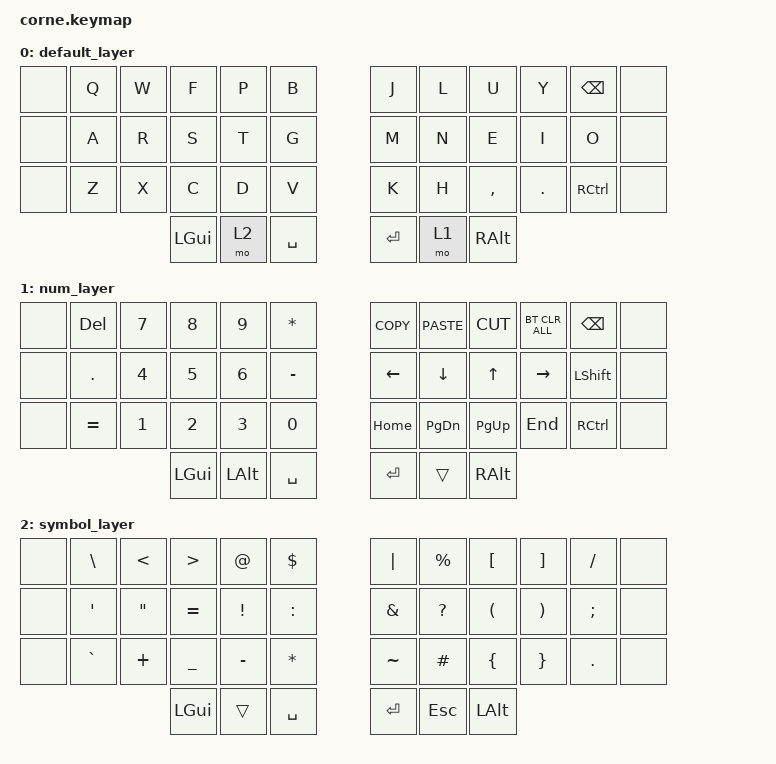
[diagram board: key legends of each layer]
/*
 * Copyright (c) 2020 The ZMK Contributors
 *
 * SPDX-License-Identifier: MIT
 */

#include <behaviors.dtsi>
#include <dt-bindings/zmk/bt.h>
#include <dt-bindings/zmk/keys.h>

/ {
    combos {
        compatible = "zmk,combos";

        combo_capslock {
            bindings = <&kp CAPSLOCK>;
            key-positions = <39 38>;
            layers = <0 1 2>;
            timeout-ms = <50>;
        };

        combo_ctrl {
            bindings = <&skq RCTRL>;
            key-positions = <26 27>;
            layers = <0 1 2>;
            timeout-ms = <50>;
        };

        combo_shift {
            bindings = <&skq RIGHT_SHIFT>;
            key-positions = <8 9>;
            timeout-ms = <50>;
            layers = <0 1 2>;
        };

        combo_tab {
            bindings = <&kp TAB>;
            key-positions = <2 3>;
            timeout-ms = <50>;
            layers = <0 1 2>;
        };
    };

    behaviors {
        skq: skq {
            compatible = "zmk,behavior-sticky-key";
            label = "sticky_key_quick_release";
            bindings = <&kp>;
            #binding-cells = <1>;
            release-after-ms = <1000>;
            quick-release;
        };
    };

    keymap {
        compatible = "zmk,keymap";

        default_layer {
            // ---------------------------------------------------------------------------
            // |     |  Q  |  W  |  F  |  P  |  B  | |  J  |  L  |  U  |  Y  |BKSPC|     |
            // |     |  A  |  R  |  S  |  T  |  G  | |  M  |  N  |  E  |  I  |  O  |     |
            // |     |  Z  |  X  |  C  |  D  |  V  | |  K  |  H  |  ,  |  .  |RCTRL|     |
            //                   | CMD |-SYM-| SPC | | RET |-NUM-| OPT |

            bindings = <
&none  &kp Q  &kp W  &kp F     &kp P  &kp B        &kp J    &kp L  &kp U      &kp Y    &kp BACKSPACE      &none
&none  &kp A  &kp R  &kp S     &kp T  &kp G        &kp M    &kp N  &kp E      &kp I    &kp O              &none
&none  &kp Z  &kp X  &kp C     &kp D  &kp V        &kp K    &kp H  &kp COMMA  &kp DOT  &kp RIGHT_CONTROL  &none
                     &kp LGUI  &mo 2  &kp SPACE    &kp RET  &mo 1  &kp RALT
            >;
        };

        num_layer {
            // ---------------------------------------------------------------------------
            // |     |     |  7  |  8  |  9  |  *  | | CPY | PST | CUT | UND | DEL |     |
            // |     |  .  |  4  |  5  |  6  |  -  | |  <| | DWN |  UP |  |> |SHIFT|     |
            // |     |  =  |  1  |  2  |  3  |  +  | |  HM | PGD | PGU | END |RCTRL|     |
            //                   | OPT |  0  | SPC | | RET |_NUM_| CMD |

            bindings = <
&none  &kp DELETE  &kp N7        &kp N8        &kp N9        &kp STAR     &kp K_COPY  &kp K_PASTE    &kp K_CUT      &bt BT_CLR_ALL  &kp BACKSPACE   &none
&none  &kp DOT     &kp NUMBER_4  &kp N5        &kp NUMBER_6  &kp MINUS    &kp LEFT    &kp DOWN       &kp UP_ARROW   &kp RIGHT       &kp LEFT_SHIFT  &none
&none  &kp EQUAL   &kp NUMBER_1  &kp NUMBER_2  &kp NUMBER_3  &kp N0       &kp HOME    &kp PAGE_DOWN  &kp PAGE_UP    &kp END         &kp RCTRL       &none
                                 &kp LGUI      &kp LEFT_ALT  &kp SPACE    &kp RET     &trans         &kp RIGHT_ALT
            >;
        };

        symbol_layer {
            // ---------------------------------------------------------------------------
            // |     |  \  |  <  |  >  |  @  |  $  | |  |  |  %  |  [  |  ]  |  /  |     |
            // |     |  '  |  "  |  =  |  !  |  :  | |  &  |  ?  |  (  |  )  |  ;  |     |
            // |     |  `  |  +  |  _  |  -  |  *  | |  ~  |  #  |  {  |  }  |  .  |     |
            //                   | OPT |_SYM_| SPC | | RET | ESC | CMD |

            bindings = <
&none  &kp BACKSLASH     &kp LT             &kp GT     &kp AT     &kp DOLLAR    &kp PIPE       &kp PERCENT   &kp LEFT_BRACKET      &kp RIGHT_BRACKET      &kp SLASH  &none
&none  &kp SINGLE_QUOTE  &kp DOUBLE_QUOTES  &kp EQUAL  &kp EXCL   &kp COLON     &kp AMPERSAND  &kp QUESTION  &kp LEFT_PARENTHESIS  &kp RIGHT_PARENTHESIS  &kp SEMI   &none
&none  &kp GRAVE         &kp PLUS           &kp UNDER  &kp MINUS  &kp STAR      &kp TILDE      &kp HASH      &kp LEFT_BRACE        &kp RIGHT_BRACE        &kp DOT    &none
                                            &kp LGUI   &trans     &kp SPACE     &kp ENTER      &kp ESCAPE    &kp LEFT_ALT
            >;
        };
    };
};
